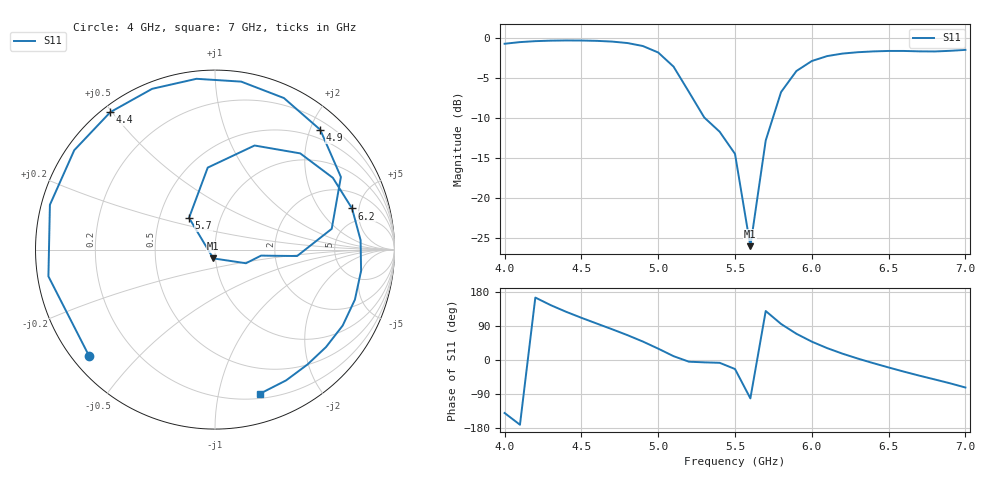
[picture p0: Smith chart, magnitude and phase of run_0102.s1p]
! Touchstone file exported from HFSS 2024.2.0
!  File:  C:/Users/wsak9/Desktop/Sim Fast/Widenad Patch/WP_AI_V1_sweep.aedt
!  Generated:  07:10:08 PM Oct 13, 2026
!  Design:  A1_model
!  Project:  WP_AI_V1_sweep
!  Setup:  Setup1
!  Solution:  Sweep
! Variables:
!  Air_gap = 2.14mm
!  Curve_Amp1 = 3.61
!  Curve_len1 = 1
!  Curve_pos = 10.285mm
!  Extra = 2.4mm
!  H_sub = 0.79mm
!  L_Patch = 16.57mm
!  L_Patch1 = 15.32mm
!  Sx = 3.61mm
!  Sy = 2.67mm
!  WS = 0.53mm
!  W_Patch = 16.46mm
!  W_Patch1 = 12.92mm
!Data is not renormalized
# GHz S MA
! Terminal data exported
! Port[1] = 1
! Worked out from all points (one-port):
!   31 points, 4 GHz to 7 GHz, reference per port
!   lowest |S11| = -26.0 dB at 5.6 GHz (marker M1), VSWR 1.11
!   |S11| at or under -10 dB: 5.302 GHz to 5.747 GHz (444.4 MHz wide, 8.04 % of centre)
!   S11 on the Smith chart (normalised r, x): 4 GHz: 0.05, -0.36; 4.4 GHz: 0.02, +0.50; 4.9 GHz: 0.34, +2.16; 5.7 GHz: 0.71, +0.26; 6.2 GHz: 3.36, +4.23; 7 GHz: 0.24, -1.33
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4  0.9182 -139.8
4.1  0.94 -170.9
4.2  0.9531 164.8
4.3  0.96 144.8
4.4  0.9627 127.3
4.5  0.9618 111.4
4.6  0.9572 96.2
4.7  0.9472 81.1
4.8  0.9276 65.6
4.9  0.8887 48.7
5  0.8097 30.0
5.1  0.6605 10.1
5.2  0.4591 -4.5
5.3  0.3177 -6.2
5.4  0.2591 -7.4
5.5  0.1884 -23.8
5.6  0.04996 -101.3
5.7  0.2285 129.3
5.8  0.4586 95.1
5.9  0.6205 69.2
6  0.7162 48.4
6.1  0.7689 31.3
6.2  0.7972 16.7
6.3  0.8129 3.7
6.5  0.8278 -19.7
6.7  0.823 -41.3
6.9  0.8294 -61.5
7  0.8408 -72.6
